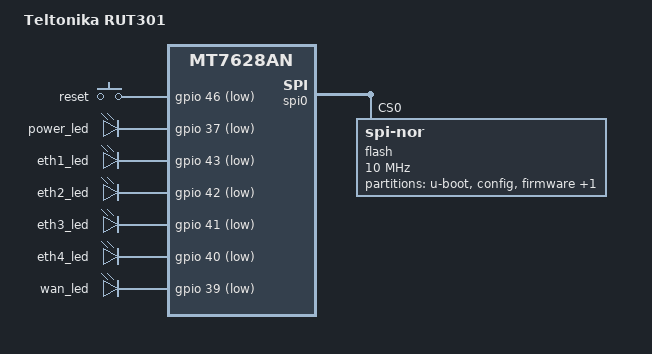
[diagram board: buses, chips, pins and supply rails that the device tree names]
// SPDX-License-Identifier: GPL-2.0-or-later OR MIT
/dts-v1/;

#include <dt-bindings/input/input.h>
#include <dt-bindings/gpio/gpio.h>
#include "mt7628an.dtsi"
#include "platform_name.dtsi"

/ {
	compatible = "teltonika,rut301", "mediatek,mt7628an-soc";
	model = "Teltonika RUT301";

	chosen {
		bootargs = "console=ttyS0,115200 root=/dev/mtdblock4";
	};

	keys {
		compatible = "gpio-keys";

		reset {
			label = "reset";
			linux,code = <KEY_RESTART>;
			gpios = <&gpio 46 GPIO_ACTIVE_LOW>;
			debounce-interval = <60>;
		};
	};

	leds {
		compatible = "gpio-leds";

		power_led {
			label = "power_led";
			gpios = <&gpio 37 GPIO_ACTIVE_LOW>;
			default-state = "on";
			retain-state-shutdown;
		};

		eth1_led {
			label = "eth1_led";
			gpios = <&gpio 43 GPIO_ACTIVE_LOW>;
		};

		eth2_led {
			label = "eth2_led";
			gpios = <&gpio 42 GPIO_ACTIVE_LOW>;
		};

		eth3_led {
			label = "eth3_led";
			gpios = <&gpio 41 GPIO_ACTIVE_LOW>;
		};

		eth4_led {
			label = "eth4_led";
			gpios = <&gpio 40 GPIO_ACTIVE_LOW>;
		};

		wan_led {
			label = "wan_led";
			gpios = <&gpio 39 GPIO_ACTIVE_LOW>;
		};
	};

	tlt_gpios { // Modify according to wiki page "DTS syntax with Libgpiod changes"
		gpiochip_info {
			hw_0 {
				hwver = <0>;
				gpiochip_count = <3>;

				gpiochip_0 = <32>; // Built-in
				gpiochip_1 = <32>; // Built-in
				gpiochip_2 = <32>; // Built-in
			};
		};

		ioman {
			GPIO_2 {
				line_name = "GPIO_OUT_1";
			};
			GPIO_11 {
				line_name = "GPIO_OUT_2";
			};
			GPIO_3 {
				line_name = "GPIO_IN_1";
				active_low;
			};
			GPIO_0 {
				line_name = "GPIO_IN_2";
				active_low;
			};
		};
	};
	ioman {
		layout@0 {
			io@0 { // 4pin #3
				label = "dio0";
				block_type = BLOCK_4PIN;
				block_pin = "3";
				default_direction = "out";
				gpio_in = "GPIO_IN_1";
				gpio_out = "GPIO_OUT_1";
				io_param = "g0";
			};
			io@1 { // 4pin #4
				label = "dio1";
				block_type = BLOCK_4PIN;
				block_pin = "4";
				default_direction = "in";
				gpio_in = "GPIO_IN_2";
				gpio_out = "GPIO_OUT_2";
				io_param = "g1";
			};
		};
	};
};

&state_default {
	gpio {
		groups = "i2s", "uart1", "p4led_an", "p3led_an", "p2led_an", "p1led_an", "p0led_an", "gpio", "wled_an", "perst";
		function = "gpio";
	};
};

&spi0 {
	status = "okay";

	flash@0 {
		compatible = "jedec,spi-nor";
		reg = <0>;
		spi-max-frequency = <10000000>;

		partitions {
			compatible = "fixed-partitions";
			#address-cells = <1>;
			#size-cells = <1>;

			boot: partition@0 {
				label = "u-boot";
				reg = <0x0 0x20000>;
				read-only;
			};

			config: partition@20000 {
				compatible = "nvmem-cells";
				#address-cells = <1>;
				#size-cells = <1>;

				label = "config";
				reg = <0x020000 0x010000>;
				read-only;

				macaddr_config_0: macaddr@0 {
					reg = <0x0 0x6>;
				};
			};

			partition@30000 {
				compatible = "denx,uimage";
				label = "firmware";
				reg = <0x030000 0xf40000>;
			};

			partition@f70000 {
				label = "event-log";
				reg = <0xf70000 0x90000>;
			};
		};
	};
};

&mnfinfo {
	sim_count {
		default =  "0";
	};
};

&ethernet {
	nvmem-cells = <&macaddr_config_0>;
	nvmem-cell-names = "mac-address";
};

&esw {
	mediatek,portmap = <0x2f>;
};
